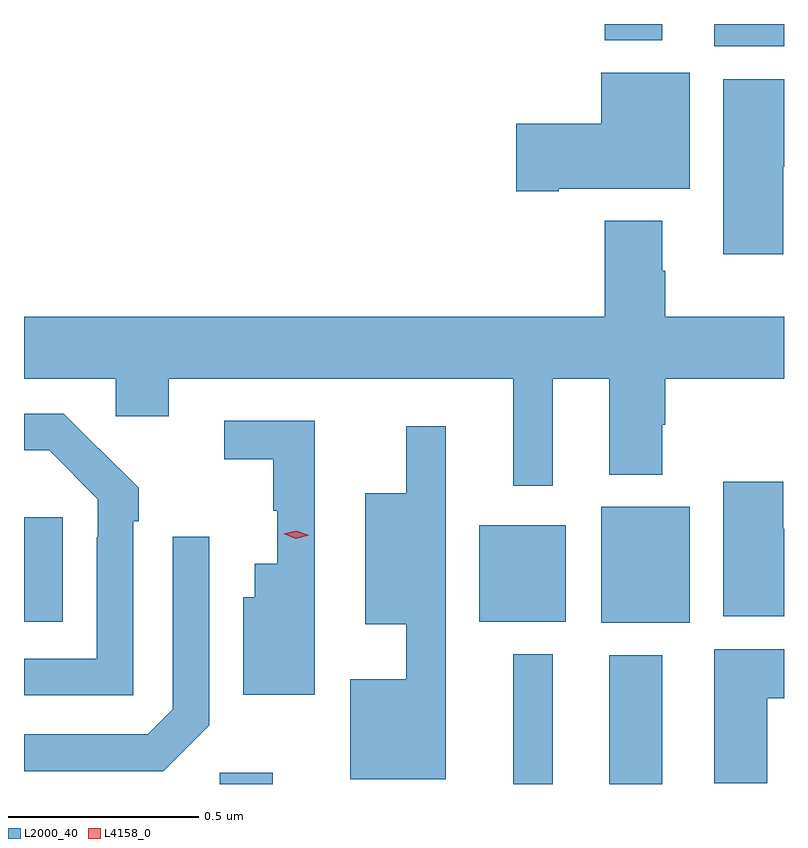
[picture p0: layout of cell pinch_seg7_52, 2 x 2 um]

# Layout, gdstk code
import gdstk
lib = gdstk.Library(unit=1e-6, precision=1e-09)
def R(c, l, rs):  # rectangles x0, y0, x1, y1
    for r in rs: c.add(gdstk.rectangle(r[:2], r[2:], *l))
def P(c, l, *ps):  # polygons
    for p in ps: c.add(gdstk.Polygon(p, *l))
L2000_40 = (2000, 40)
L4158_0 = (4158, 0)

pinch_seg7_52 = lib.new_cell('pinch_seg7_52')
R(pinch_seg7_52, L2000_40, [(978.204,1063.486,978.343,1063.516), (978.977,1063.486,979.081,1063.828), (979.229,1063.486,979.369,1063.825), (979.208,1063.91,979.441,1064.215), (977.689,1063.913,977.791,1064.188), (978.887,1063.913,979.114,1064.167), (979.505,1065.428,979.689,1065.486), (979.217,1065.443,979.369,1065.486)])
P(pinch_seg7_52, L2000_40, [(979.096,1065.053),(979.441,1065.053),(979.441,1065.358),(979.208,1065.358),(979.208,1065.224),(978.984,1065.224),(978.984,1065.046),(979.096,1065.046)],
  [(979.687,1065.11),(979.689,1065.11),(979.689,1065.34),(979.529,1065.34),(979.529,1064.88),(979.687,1064.88)],
  [(979.081,1064.552),(979.229,1064.552),(979.229,1064.3),(979.369,1064.3),(979.369,1064.432),(979.377,1064.432),(979.377,1064.552),(979.689,1064.552),(979.689,1064.716),(979.377,1064.716),(979.377,1064.837),(979.369,1064.837),(979.369,1064.968),(979.217,1064.968),(979.217,1064.716),(977.689,1064.716),(977.689,1064.552),(977.931,1064.552),(977.931,1064.454),(978.07,1064.454),(978.07,1064.552),(978.977,1064.552),(978.977,1064.271),(979.081,1064.271)],
  [(977.976,1064.177),(977.991,1064.177),(977.991,1064.265),(977.886,1064.37),(977.885,1064.369),(977.794,1064.46),(977.689,1064.46),(977.689,1064.364),(977.755,1064.364),(977.883,1064.235),(977.883,1064.135),(977.88,1064.135),(977.88,1063.815),(977.689,1063.815),(977.689,1063.719),(977.976,1063.719)],
  [(978.454,1064.442),(978.216,1064.442),(978.216,1064.341),(978.345,1064.341),(978.345,1064.205),(978.356,1064.205),(978.356,1064.065),(978.296,1064.065),(978.296,1063.978),(978.266,1063.978),(978.266,1063.721),(978.454,1063.721)],
  [(978.799,1064.428),(978.695,1064.428),(978.695,1064.251),(978.587,1064.251),(978.587,1063.907),(978.695,1063.907),(978.695,1063.762),(978.548,1063.762),(978.548,1063.499),(978.799,1063.499)],
  [(979.689,1064.158),(979.687,1064.158),(979.687,1064.281),(979.529,1064.281),(979.529,1063.928),(979.689,1063.928)],
  [(978.177,1063.641),(978.177,1064.137),(978.081,1064.137),(978.081,1063.683),(978.015,1063.617),(977.689,1063.617),(977.689,1063.52),(978.056,1063.52)],
  [(979.645,1063.712),(979.689,1063.712),(979.689,1063.84),(979.505,1063.84),(979.505,1063.488),(979.645,1063.488)])
P(pinch_seg7_52, L4158_0, [(978.404,1064.132),(978.371,1064.144),(978.371,1064.144),(978.371,1064.144),(978.405,1064.152),(978.439,1064.14),(978.439,1064.14),(978.439,1064.14)])

lib.write_gds('pinch_seg7_52.gds')
